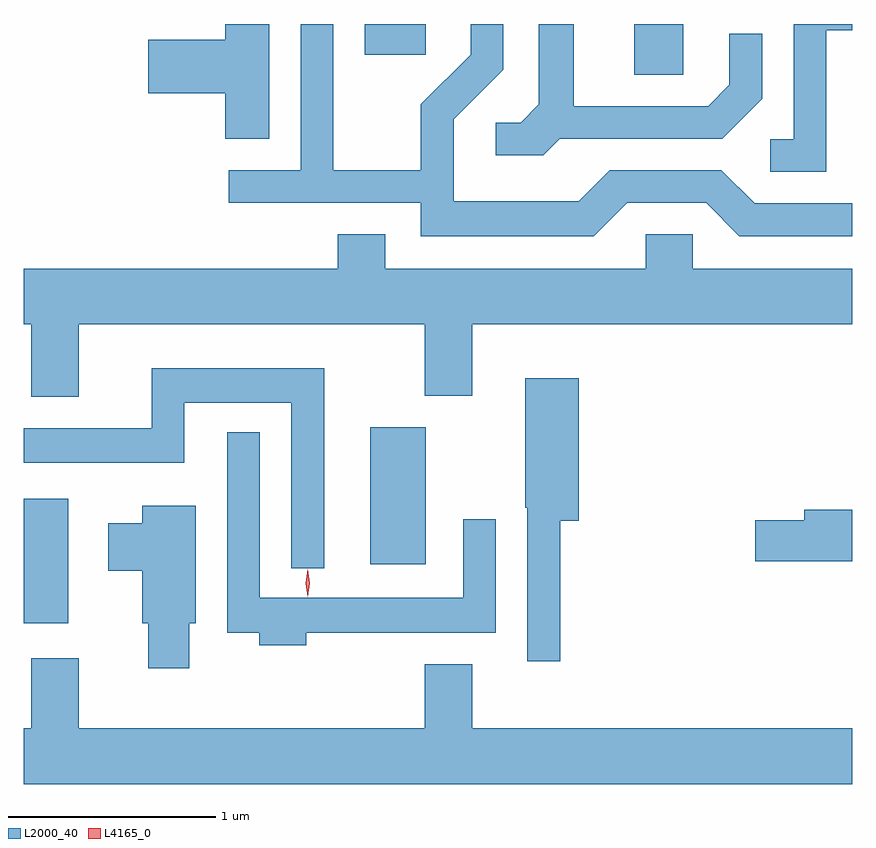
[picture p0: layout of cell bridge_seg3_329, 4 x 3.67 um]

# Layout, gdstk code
import gdstk
lib = gdstk.Library(unit=1e-6, precision=1e-09)
def R(c, l, rs):  # rectangles x0, y0, x1, y1
    for r in rs: c.add(gdstk.rectangle(r[:2], r[2:], *l))
def P(c, l, *ps):  # polygons
    for p in ps: c.add(gdstk.Polygon(p, *l))
L2000_40 = (2000, 40)
L4165_0 = (4165, 0)

bridge_seg3_329 = lib.new_cell('bridge_seg3_329')
R(bridge_seg3_329, L2000_40, [(570.264,1157.871,570.479,1158.474), (571.936,1158.156,572.204,1158.819), (573.211,1160.521,573.449,1160.765), (571.911,1160.616,572.204,1160.765)])
P(bridge_seg3_329, L2000_40, [(571.449,1160.765),(571.236,1160.765),(571.236,1160.689),(570.866,1160.689),(570.866,1160.431),(571.236,1160.431),(571.236,1160.211),(571.449,1160.211)],
  [(574.139,1160.736),(574.264,1160.736),(574.264,1160.765),(573.981,1160.765),(573.981,1160.209),(573.868,1160.209),(573.868,1160.051),(574.139,1160.051)],
  [(573.177,1159.901),(573.559,1159.901),(573.719,1159.741),(574.264,1159.741),(574.264,1159.899),(573.792,1159.899),(573.632,1160.059),(573.094,1160.059),(572.944,1159.909),(572.339,1159.909),(572.339,1160.304),(572.579,1160.544),(572.579,1160.765),(572.421,1160.765),(572.421,1160.617),(572.181,1160.377),(572.181,1160.059),(571.759,1160.059),(571.759,1160.765),(571.601,1160.765),(571.601,1160.059),(571.253,1160.059),(571.253,1159.901),(572.181,1159.901),(572.181,1159.741),(573.017,1159.741)],
  [(572.852,1160.211),(573.637,1160.211),(573.829,1160.404),(573.829,1160.718),(573.671,1160.718),(573.671,1160.472),(573.569,1160.369),(572.919,1160.369),(572.919,1160.765),(572.751,1160.765),(572.751,1160.377),(572.664,1160.289),(572.543,1160.289),(572.543,1160.131),(572.772,1160.131)],
  [(570.529,1159.316),(572.201,1159.316),(572.201,1158.971),(572.429,1158.971),(572.429,1159.316),(574.264,1159.316),(574.264,1159.584),(573.494,1159.584),(573.494,1159.749),(573.266,1159.749),(573.266,1159.584),(572.009,1159.584),(572.009,1159.749),(571.781,1159.749),(571.781,1159.584),(570.264,1159.584),(570.264,1159.316),(570.301,1159.316),(570.301,1158.966),(570.529,1158.966)],
  [(571.714,1159.104),(570.881,1159.104),(570.881,1158.814),(570.264,1158.814),(570.264,1158.646),(571.039,1158.646),(571.039,1158.936),(571.556,1158.936),(571.556,1158.138),(571.714,1158.138)],
  [(572.854,1158.366),(572.944,1158.366),(572.944,1159.054),(572.686,1159.054),(572.686,1158.43),(572.696,1158.43),(572.696,1157.688),(572.854,1157.688)],
  [(571.629,1157.826),(572.544,1157.826),(572.544,1158.373),(572.386,1158.373),(572.386,1157.994),(571.404,1157.994),(571.404,1158.793),(571.246,1158.793),(571.246,1157.826),(571.401,1157.826),(571.401,1157.766),(571.629,1157.766)],
  [(571.064,1157.871),(571.094,1157.871),(571.094,1158.439),(570.836,1158.439),(570.836,1158.354),(570.671,1158.354),(570.671,1158.126),(570.836,1158.126),(570.836,1157.871),(570.866,1157.871),(570.866,1157.656),(571.064,1157.656)],
  [(574.264,1158.419),(574.031,1158.419),(574.031,1158.369),(573.796,1158.369),(573.796,1158.171),(574.264,1158.171)],
  [(574.264,1157.364),(572.429,1157.364),(572.429,1157.674),(572.201,1157.674),(572.201,1157.364),(570.529,1157.364),(570.529,1157.704),(570.301,1157.704),(570.301,1157.364),(570.264,1157.364),(570.264,1157.096),(574.264,1157.096)])
P(bridge_seg3_329, L4165_0, [(571.635,1158),(571.635,1158),(571.625,1158.066),(571.634,1158.132),(571.635,1158.133),(571.635,1158.132),(571.645,1158.066),(571.636,1158)])

lib.write_gds('bridge_seg3_329.gds')
